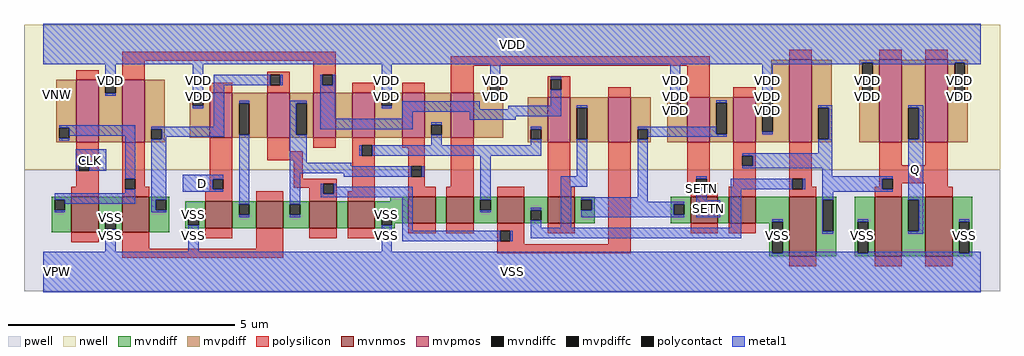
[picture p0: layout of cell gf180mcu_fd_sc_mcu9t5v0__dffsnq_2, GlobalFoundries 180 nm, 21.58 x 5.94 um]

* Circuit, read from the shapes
.subckt gf180mcu_fd_sc_mcu9t5v0__dffsnq_2 D SETN CLK Q VDD VNW VPW VSS
XM1 VSS CLK n1 VPW nfet_06v0 w=0.79u l=0.6u
XM2 n2 n1 VSS VPW nfet_06v0 w=0.79u l=0.6u
XM3 n3 D VSS VPW nfet_06v0 w=0.59u l=0.6u
XM4 n4 n1 n3 VPW nfet_06v0 w=0.59u l=0.6u
XM5 n5 n2 n4 VPW nfet_06v0 w=0.59u l=0.6u
XM6 VSS n6 n5 VPW nfet_06v0 w=0.59u l=0.6u
XM7 n7 n4 VSS VPW nfet_06v0 w=0.59u l=0.6u
XM8 n6 SETN n7 VPW nfet_06v0 w=0.59u l=0.6u
XM9 n8 n2 n6 VPW nfet_06v0 w=0.59u l=0.6u
XM10 n9 n1 n8 VPW nfet_06v0 w=0.59u l=0.6u
XM11 n10 SETN n9 VPW nfet_06v0 w=0.59u l=0.6u
XM12 VSS n11 n10 VPW nfet_06v0 w=0.59u l=0.6u
XM13 n11 n8 VSS VPW nfet_06v0 w=1.32u l=0.6u
XM14 Q n11 VSS VPW nfet_06v0 w=1.32u l=0.6u m=2
XM15 VDD CLK n1 VNW pfet_06v0 w=1.38u l=0.5u
XM16 n2 n1 VDD VNW pfet_06v0 w=1.38u l=0.5u
XM17 n3 D VDD VNW pfet_06v0 w=1u l=0.5u
XM18 n4 n2 n3 VNW pfet_06v0 w=1u l=0.5u
XM19 n12 n1 n4 VNW pfet_06v0 w=1u l=0.5u
XM20 VDD n6 n12 VNW pfet_06v0 w=1u l=0.5u
XM21 n6 n4 VDD VNW pfet_06v0 w=1u l=0.5u
XM22 VDD SETN n6 VNW pfet_06v0 w=1u l=0.5u
XM23 n8 n1 n6 VNW pfet_06v0 w=1u l=0.5u
XM24 n9 n2 n8 VNW pfet_06v0 w=1u l=0.5u
XM25 n9 SETN VDD VNW pfet_06v0 w=1u l=0.5u
XM26 VDD n11 n9 VNW pfet_06v0 w=1u l=0.5u
XM27 n11 n8 VDD VNW pfet_06v0 w=1.83u l=0.5u
XM28 Q n11 VDD VNW pfet_06v0 w=1.83u l=0.5u m=2
.ends

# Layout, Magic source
magic
tech gf180mcuD
magscale 1 10
<< nwell >>
rect -86 453 4230 1094
<< pwell >>
rect -86 -86 4230 453
<< mvnmos >>
rect 124 175 244 333
rect 348 175 468 333
rect 716 194 836 312
rect 940 194 1060 312
rect 1176 194 1296 312
rect 1346 194 1466 312
rect 1614 215 1734 333
rect 1782 215 1902 333
rect 2006 215 2126 333
rect 2230 215 2350 333
rect 2862 215 2982 333
rect 3030 215 3150 333
rect 3298 69 3418 333
rect 3676 69 3796 333
rect 3900 69 4020 333
<< mvpmos >>
rect 144 573 244 849
rect 348 573 448 849
rect 736 593 836 793
rect 989 593 1089 793
rect 1193 593 1293 793
rect 1366 593 1466 793
rect 1586 593 1686 793
rect 1802 593 1902 793
rect 2230 573 2330 773
rect 2498 573 2598 773
rect 2846 573 2946 773
rect 3050 573 3150 773
rect 3298 573 3398 939
rect 3696 573 3796 939
rect 3900 573 4000 939
<< mvndiff >>
rect 36 320 124 333
rect 36 274 49 320
rect 95 274 124 320
rect 36 175 124 274
rect 244 234 348 333
rect 244 188 273 234
rect 319 188 348 234
rect 244 175 348 188
rect 468 320 556 333
rect 468 274 497 320
rect 543 274 556 320
rect 1534 312 1614 333
rect 468 175 556 274
rect 628 253 716 312
rect 628 207 641 253
rect 687 207 716 253
rect 628 194 716 207
rect 836 299 940 312
rect 836 253 865 299
rect 911 253 940 299
rect 836 194 940 253
rect 1060 299 1176 312
rect 1060 253 1089 299
rect 1135 253 1176 299
rect 1060 194 1176 253
rect 1296 194 1346 312
rect 1466 253 1614 312
rect 1466 207 1495 253
rect 1541 215 1614 253
rect 1734 215 1782 333
rect 1902 320 2006 333
rect 1902 274 1931 320
rect 1977 274 2006 320
rect 1902 215 2006 274
rect 2126 274 2230 333
rect 2126 228 2155 274
rect 2201 228 2230 274
rect 2126 215 2230 228
rect 2350 320 2438 333
rect 2350 274 2379 320
rect 2425 274 2438 320
rect 2350 215 2438 274
rect 1541 207 1554 215
rect 1466 194 1554 207
rect 2774 299 2862 333
rect 2774 253 2787 299
rect 2833 253 2862 299
rect 2774 215 2862 253
rect 2982 215 3030 333
rect 3150 222 3298 333
rect 3150 215 3223 222
rect 3210 82 3223 215
rect 3269 82 3298 222
rect 3210 69 3298 82
rect 3418 320 3506 333
rect 3418 180 3447 320
rect 3493 180 3506 320
rect 3418 69 3506 180
rect 3588 222 3676 333
rect 3588 82 3601 222
rect 3647 82 3676 222
rect 3588 69 3676 82
rect 3796 320 3900 333
rect 3796 180 3825 320
rect 3871 180 3900 320
rect 3796 69 3900 180
rect 4020 222 4108 333
rect 4020 82 4049 222
rect 4095 82 4108 222
rect 4020 69 4108 82
<< mvpdiff >>
rect 56 637 144 849
rect 56 591 69 637
rect 115 591 144 637
rect 56 573 144 591
rect 244 836 348 849
rect 244 790 273 836
rect 319 790 348 836
rect 244 573 348 790
rect 448 632 536 849
rect 1962 823 2034 836
rect 1962 793 1975 823
rect 448 586 477 632
rect 523 586 536 632
rect 648 780 736 793
rect 648 734 661 780
rect 707 734 736 780
rect 648 593 736 734
rect 836 746 989 793
rect 836 606 865 746
rect 911 606 989 746
rect 836 593 989 606
rect 1089 746 1193 793
rect 1089 606 1118 746
rect 1164 606 1193 746
rect 1089 593 1193 606
rect 1293 593 1366 793
rect 1466 780 1586 793
rect 1466 734 1495 780
rect 1541 734 1586 780
rect 1466 593 1586 734
rect 1686 652 1802 793
rect 1686 606 1715 652
rect 1761 606 1802 652
rect 1686 593 1802 606
rect 1902 777 1975 793
rect 2021 777 2034 823
rect 1902 593 2034 777
rect 3218 773 3298 939
rect 2142 632 2230 773
rect 448 573 536 586
rect 2142 586 2155 632
rect 2201 586 2230 632
rect 2142 573 2230 586
rect 2330 726 2498 773
rect 2330 586 2359 726
rect 2405 586 2498 726
rect 2330 573 2498 586
rect 2598 632 2686 773
rect 2598 586 2627 632
rect 2673 586 2686 632
rect 2598 573 2686 586
rect 2758 760 2846 773
rect 2758 714 2771 760
rect 2817 714 2846 760
rect 2758 573 2846 714
rect 2946 748 3050 773
rect 2946 608 2975 748
rect 3021 608 3050 748
rect 2946 573 3050 608
rect 3150 760 3298 773
rect 3150 620 3179 760
rect 3225 620 3298 760
rect 3150 573 3298 620
rect 3398 726 3486 939
rect 3398 586 3427 726
rect 3473 586 3486 726
rect 3398 573 3486 586
rect 3608 926 3696 939
rect 3608 786 3621 926
rect 3667 786 3696 926
rect 3608 573 3696 786
rect 3796 726 3900 939
rect 3796 586 3825 726
rect 3871 586 3900 726
rect 3796 573 3900 586
rect 4000 926 4088 939
rect 4000 786 4029 926
rect 4075 786 4088 926
rect 4000 573 4088 786
<< mvndiffc >>
rect 49 274 95 320
rect 273 188 319 234
rect 497 274 543 320
rect 641 207 687 253
rect 865 253 911 299
rect 1089 253 1135 299
rect 1495 207 1541 253
rect 1931 274 1977 320
rect 2155 228 2201 274
rect 2379 274 2425 320
rect 2787 253 2833 299
rect 3223 82 3269 222
rect 3447 180 3493 320
rect 3601 82 3647 222
rect 3825 180 3871 320
rect 4049 82 4095 222
<< mvpdiffc >>
rect 69 591 115 637
rect 273 790 319 836
rect 477 586 523 632
rect 661 734 707 780
rect 865 606 911 746
rect 1118 606 1164 746
rect 1495 734 1541 780
rect 1715 606 1761 652
rect 1975 777 2021 823
rect 2155 586 2201 632
rect 2359 586 2405 726
rect 2627 586 2673 632
rect 2771 714 2817 760
rect 2975 608 3021 748
rect 3179 620 3225 760
rect 3427 586 3473 726
rect 3621 786 3667 926
rect 3825 586 3871 726
rect 4029 786 4075 926
<< polysilicon >>
rect 348 933 1293 973
rect 144 849 244 893
rect 348 849 448 933
rect 989 872 1089 885
rect 736 793 836 837
rect 989 826 1002 872
rect 1048 826 1089 872
rect 989 793 1089 826
rect 1193 872 1293 933
rect 1193 826 1234 872
rect 1280 826 1293 872
rect 1802 913 2946 953
rect 3298 939 3398 983
rect 3696 939 3796 983
rect 3900 939 4000 983
rect 1193 793 1293 826
rect 1366 793 1466 837
rect 1586 793 1686 837
rect 1802 793 1902 913
rect 2230 852 2330 865
rect 2230 806 2243 852
rect 2289 806 2330 852
rect 2230 773 2330 806
rect 2498 773 2598 817
rect 2846 773 2946 913
rect 3050 773 3150 817
rect 144 494 244 573
rect 144 448 157 494
rect 203 448 244 494
rect 144 377 244 448
rect 124 333 244 377
rect 348 412 448 573
rect 348 366 361 412
rect 407 377 448 412
rect 736 411 836 593
rect 989 533 1089 593
rect 1193 549 1293 593
rect 1366 560 1466 593
rect 989 493 1147 533
rect 407 366 468 377
rect 348 333 468 366
rect 736 365 749 411
rect 795 365 836 411
rect 1107 412 1147 493
rect 1366 514 1407 560
rect 1453 514 1466 560
rect 1586 549 1686 593
rect 1107 391 1296 412
rect 1107 372 1237 391
rect 736 356 836 365
rect 716 312 836 356
rect 940 312 1060 356
rect 1176 345 1237 372
rect 1283 345 1296 391
rect 1366 356 1466 514
rect 1176 312 1296 345
rect 1346 312 1466 356
rect 1614 468 1686 549
rect 1614 422 1627 468
rect 1673 422 1686 468
rect 1614 377 1686 422
rect 1802 377 1902 593
rect 2230 377 2330 573
rect 2498 529 2598 573
rect 1614 333 1734 377
rect 1782 333 1902 377
rect 2006 333 2126 377
rect 2230 333 2350 377
rect 124 131 244 175
rect 348 102 468 175
rect 716 150 836 194
rect 940 102 1060 194
rect 1176 150 1296 194
rect 1346 150 1466 194
rect 1614 171 1734 215
rect 1782 171 1902 215
rect 2006 182 2126 215
rect 348 62 1060 102
rect 2006 136 2019 182
rect 2065 136 2126 182
rect 2230 171 2350 215
rect 2006 123 2126 136
rect 2498 123 2597 529
rect 2846 412 2946 573
rect 2846 393 2887 412
rect 2862 366 2887 393
rect 2933 393 2946 412
rect 3050 515 3150 573
rect 3050 469 3091 515
rect 3137 469 3150 515
rect 2933 366 2982 393
rect 3050 377 3150 469
rect 2862 333 2982 366
rect 3030 333 3150 377
rect 3298 412 3398 573
rect 3298 366 3311 412
rect 3357 377 3398 412
rect 3696 471 3796 573
rect 3900 471 4000 573
rect 3696 412 4000 471
rect 3696 377 3709 412
rect 3357 366 3418 377
rect 3298 333 3418 366
rect 3676 366 3709 377
rect 3755 393 4000 412
rect 3755 366 3796 393
rect 3676 333 3796 366
rect 3900 377 4000 393
rect 3900 333 4020 377
rect 2862 171 2982 215
rect 3030 171 3150 215
rect 2006 83 2597 123
rect 3298 25 3418 69
rect 3676 25 3796 69
rect 3900 25 4020 69
<< polycontact >>
rect 1002 826 1048 872
rect 1234 826 1280 872
rect 2243 806 2289 852
rect 157 448 203 494
rect 361 366 407 412
rect 749 365 795 411
rect 1407 514 1453 560
rect 1237 345 1283 391
rect 1627 422 1673 468
rect 2019 136 2065 182
rect 2887 366 2933 412
rect 3091 469 3137 515
rect 3311 366 3357 412
rect 3709 366 3755 412
<< metal1 >>
rect 0 926 4144 1098
rect 0 918 3621 926
rect 273 836 319 918
rect 273 779 319 790
rect 661 780 707 918
rect 661 723 707 734
rect 753 826 1002 872
rect 1048 826 1059 872
rect 1223 826 1234 872
rect 1280 826 1291 872
rect 69 637 407 648
rect 753 643 799 826
rect 115 602 407 637
rect 69 580 115 591
rect 142 494 278 542
rect 142 448 157 494
rect 203 448 278 494
rect 361 412 407 602
rect 361 348 407 366
rect 49 320 407 348
rect 95 302 407 320
rect 477 632 799 643
rect 523 597 799 632
rect 865 746 911 757
rect 523 586 543 597
rect 477 320 543 586
rect 615 411 795 430
rect 615 365 749 411
rect 615 354 795 365
rect 49 263 95 274
rect 477 274 497 320
rect 477 263 543 274
rect 865 299 911 606
rect 641 253 687 264
rect 273 234 319 245
rect 273 90 319 188
rect 865 242 911 253
rect 1089 746 1164 757
rect 1089 606 1118 746
rect 1223 677 1291 826
rect 1495 780 1541 918
rect 1975 823 2021 918
rect 1975 766 2021 777
rect 2243 852 2289 863
rect 1495 723 1541 734
rect 1587 720 1930 755
rect 2243 735 2289 806
rect 2771 760 2817 918
rect 2055 720 2289 735
rect 1587 709 2289 720
rect 1587 677 1633 709
rect 1223 631 1633 677
rect 1885 689 2289 709
rect 2359 726 2405 737
rect 1885 674 2089 689
rect 1715 652 1761 663
rect 1089 483 1164 606
rect 1715 560 1761 606
rect 2155 632 2201 643
rect 2155 560 2201 586
rect 1396 514 1407 560
rect 1453 514 2201 560
rect 3179 760 3225 918
rect 3667 918 4029 926
rect 3621 775 3667 786
rect 4075 918 4144 926
rect 4029 775 4075 786
rect 2771 703 2817 714
rect 2975 748 3021 759
rect 1089 468 1362 483
rect 1089 437 1627 468
rect 1089 299 1135 437
rect 1328 422 1627 437
rect 1673 422 1684 468
rect 1226 345 1237 391
rect 1283 376 1294 391
rect 1283 345 1633 376
rect 1226 330 1633 345
rect 1089 242 1135 253
rect 1495 253 1541 264
rect 641 90 687 207
rect 1495 90 1541 207
rect 1587 182 1633 330
rect 1931 320 1977 514
rect 2359 423 2405 586
rect 2287 377 2405 423
rect 2627 632 2975 643
rect 2673 608 2975 632
rect 3179 609 3225 620
rect 3427 726 3489 737
rect 2673 597 3021 608
rect 1931 263 1977 274
rect 2155 274 2201 285
rect 2155 196 2201 228
rect 2287 196 2333 377
rect 2627 331 2673 586
rect 3473 586 3489 726
rect 3427 526 3489 586
rect 3091 515 3489 526
rect 3137 469 3489 515
rect 3091 458 3489 469
rect 3443 423 3489 458
rect 3825 726 3890 737
rect 3871 586 3890 726
rect 2379 320 2673 331
rect 2425 310 2673 320
rect 2887 412 2933 423
rect 3443 412 3755 423
rect 2887 318 2933 366
rect 3040 366 3311 412
rect 3357 366 3368 412
rect 3443 366 3709 412
rect 2425 299 2833 310
rect 2425 274 2787 299
rect 2379 253 2787 274
rect 2379 242 2833 253
rect 2887 242 2994 318
rect 3040 196 3086 366
rect 3443 355 3755 366
rect 3443 320 3493 355
rect 1587 136 2019 182
rect 2065 136 2076 182
rect 2155 150 3086 196
rect 3223 222 3269 233
rect 0 82 3223 90
rect 3443 180 3447 320
rect 3825 320 3890 586
rect 3443 169 3493 180
rect 3601 222 3647 233
rect 3269 82 3601 90
rect 3871 180 3890 320
rect 3825 169 3890 180
rect 4049 222 4095 233
rect 3647 82 4049 90
rect 4095 82 4144 90
rect 0 -90 4144 82
<< labels >>
flabel metal1 s 142 448 278 542 0 FreeSans 200 0 0 0 CLK
port 3 nsew clock input
flabel metal1 s 615 354 795 430 0 FreeSans 200 0 0 0 D
port 1 nsew default input
flabel metal1 s 3825 169 3890 737 0 FreeSans 200 0 0 0 Q
port 4 nsew default output
flabel metal1 s 2887 318 2933 423 0 FreeSans 200 0 0 0 SETN
port 2 nsew default input
flabel metal1 s 0 918 4144 1098 0 FreeSans 200 0 0 0 VDD
port 5 nsew power bidirectional abutment
flabel metal1 s 1495 245 1541 264 0 FreeSans 200 0 0 0 VSS
port 8 nsew ground bidirectional abutment
flabel nwell s 10 734 110 834 0 FreeSans 400 0 0 0 VNW
port 6 nsew power bidirectional
flabel pwell s 10 -50 110 50 0 FreeSans 400 0 0 0 VPW
port 7 nsew ground bidirectional
rlabel metal1 s 2887 242 2994 318 1 SETN
port 2 nsew default input
rlabel metal1 s 4029 779 4075 918 1 VDD
port 5 nsew power bidirectional abutment
rlabel metal1 s 3621 779 3667 918 1 VDD
port 5 nsew power bidirectional abutment
rlabel metal1 s 3179 779 3225 918 1 VDD
port 5 nsew power bidirectional abutment
rlabel metal1 s 2771 779 2817 918 1 VDD
port 5 nsew power bidirectional abutment
rlabel metal1 s 1975 779 2021 918 1 VDD
port 5 nsew power bidirectional abutment
rlabel metal1 s 1495 779 1541 918 1 VDD
port 5 nsew power bidirectional abutment
rlabel metal1 s 661 779 707 918 1 VDD
port 5 nsew power bidirectional abutment
rlabel metal1 s 273 779 319 918 1 VDD
port 5 nsew power bidirectional abutment
rlabel metal1 s 4029 775 4075 779 1 VDD
port 5 nsew power bidirectional abutment
rlabel metal1 s 3621 775 3667 779 1 VDD
port 5 nsew power bidirectional abutment
rlabel metal1 s 3179 775 3225 779 1 VDD
port 5 nsew power bidirectional abutment
rlabel metal1 s 2771 775 2817 779 1 VDD
port 5 nsew power bidirectional abutment
rlabel metal1 s 1975 775 2021 779 1 VDD
port 5 nsew power bidirectional abutment
rlabel metal1 s 1495 775 1541 779 1 VDD
port 5 nsew power bidirectional abutment
rlabel metal1 s 661 775 707 779 1 VDD
port 5 nsew power bidirectional abutment
rlabel metal1 s 3179 766 3225 775 1 VDD
port 5 nsew power bidirectional abutment
rlabel metal1 s 2771 766 2817 775 1 VDD
port 5 nsew power bidirectional abutment
rlabel metal1 s 1975 766 2021 775 1 VDD
port 5 nsew power bidirectional abutment
rlabel metal1 s 1495 766 1541 775 1 VDD
port 5 nsew power bidirectional abutment
rlabel metal1 s 661 766 707 775 1 VDD
port 5 nsew power bidirectional abutment
rlabel metal1 s 3179 723 3225 766 1 VDD
port 5 nsew power bidirectional abutment
rlabel metal1 s 2771 723 2817 766 1 VDD
port 5 nsew power bidirectional abutment
rlabel metal1 s 1495 723 1541 766 1 VDD
port 5 nsew power bidirectional abutment
rlabel metal1 s 661 723 707 766 1 VDD
port 5 nsew power bidirectional abutment
rlabel metal1 s 3179 703 3225 723 1 VDD
port 5 nsew power bidirectional abutment
rlabel metal1 s 2771 703 2817 723 1 VDD
port 5 nsew power bidirectional abutment
rlabel metal1 s 3179 609 3225 703 1 VDD
port 5 nsew power bidirectional abutment
rlabel metal1 s 641 245 687 264 1 VSS
port 8 nsew ground bidirectional abutment
rlabel metal1 s 1495 233 1541 245 1 VSS
port 8 nsew ground bidirectional abutment
rlabel metal1 s 641 233 687 245 1 VSS
port 8 nsew ground bidirectional abutment
rlabel metal1 s 273 233 319 245 1 VSS
port 8 nsew ground bidirectional abutment
rlabel metal1 s 4049 90 4095 233 1 VSS
port 8 nsew ground bidirectional abutment
rlabel metal1 s 3601 90 3647 233 1 VSS
port 8 nsew ground bidirectional abutment
rlabel metal1 s 3223 90 3269 233 1 VSS
port 8 nsew ground bidirectional abutment
rlabel metal1 s 1495 90 1541 233 1 VSS
port 8 nsew ground bidirectional abutment
rlabel metal1 s 641 90 687 233 1 VSS
port 8 nsew ground bidirectional abutment
rlabel metal1 s 273 90 319 233 1 VSS
port 8 nsew ground bidirectional abutment
rlabel metal1 s 0 -90 4144 90 1 VSS
port 8 nsew ground bidirectional abutment
<< properties >>
string FIXED_BBOX 0 0 4144 1008
string GDS_END 683066
string GDS_FILE $PDKPATH/libs.ref/gf180mcu_fd_sc_mcu9t5v0/gds/gf180mcu_fd_sc_mcu9t5v0.gds
string GDS_START 673668
string LEFclass core
string LEFsite GF018hv5v_green_sc9
string LEFsymmetry X Y
<< end >>
